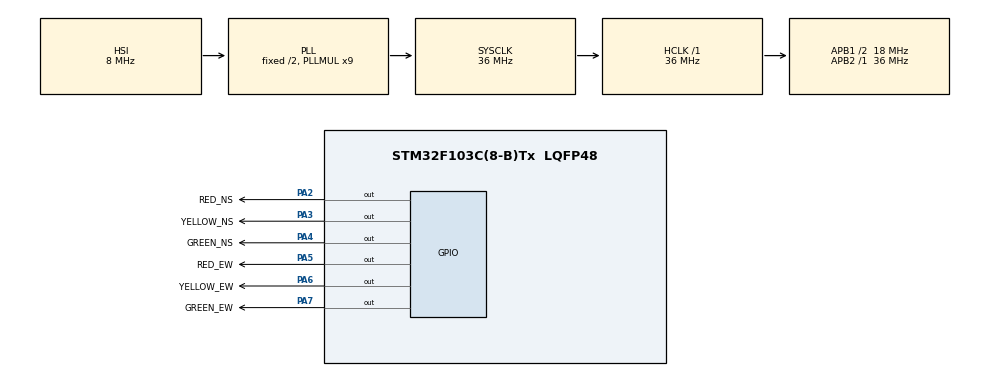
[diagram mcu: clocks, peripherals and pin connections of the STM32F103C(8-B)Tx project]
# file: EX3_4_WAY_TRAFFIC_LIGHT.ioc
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Mcu.Family=STM32F1
Mcu.Name=STM32F103C(8-B)Tx
Mcu.Package=LQFP48
NVIC.PriorityGroup=NVIC_PRIORITYGROUP_4
PA13.Mode=Serial_Wire
PA13.Signal=SYS_JTMS-SWDIO
PA14.Mode=Serial_Wire
PA14.Signal=SYS_JTCK-SWCLK
PA2.GPIO_Label=RED_NS
PA2.Signal=GPIO_Output
PA3.GPIO_Label=YELLOW_NS
PA3.Signal=GPIO_Output
PA4.GPIO_Label=GREEN_NS
PA4.Signal=GPIO_Output
PA5.GPIO_Label=RED_EW
PA5.Signal=GPIO_Output
PA6.GPIO_Label=YELLOW_EW
PA6.Signal=GPIO_Output
PA7.GPIO_Label=GREEN_EW
PA7.Signal=GPIO_Output
ProjectManager.HeapSize=0x200
ProjectManager.StackSize=0x400
ProjectManager.TargetToolchain=MDK-ARM V5.32
RCC.AHBFreq_Value=36000000
RCC.APB1CLKDivider=RCC_HCLK_DIV2
RCC.APB1Freq_Value=18000000
RCC.APB1TimFreq_Value=36000000
RCC.APB2Freq_Value=36000000
RCC.APB2TimFreq_Value=36000000
RCC.HCLKFreq_Value=36000000
RCC.PLLMUL=RCC_PLL_MUL9
RCC.SYSCLKFreq_VALUE=36000000
RCC.SYSCLKSource=RCC_SYSCLKSOURCE_PLLCLK
RCC.USBFreq_Value=36000000
board=custom

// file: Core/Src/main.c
/* USER CODE BEGIN Header */
/**
  ******************************************************************************
  * @file           : main.c
  * @brief          : Main program body
  ******************************************************************************
  * @attention
  *
  * Copyright (c) 2026 STMicroelectronics.
  * All rights reserved.
  *
  * This software is licensed under terms that can be found in the LICENSE file
  * in the root directory of this software component.
  * If no LICENSE file comes with this software, it is provided AS-IS.
  *
  ******************************************************************************
  */
/* USER CODE END Header */
#include "main.h"

void SystemClock_Config(void);
static void MX_GPIO_Init(void);

int main(void)
{

  /* MCU Configuration--------------------------------------------------------*/

  /* Reset of all peripherals, Initializes the Flash interface and the Systick. */
  HAL_Init();

  /* Configure the system clock */
  SystemClock_Config();

  /* Initialize all configured peripherals */
  MX_GPIO_Init();

  /* Infinite loop */
  while (1)
  {

    /* USER CODE BEGIN 3 */

		// NORTH_SOUTH GREEN
		HAL_GPIO_WritePin(GPIOA, GPIO_PIN_2, 0);	// RED
		HAL_GPIO_WritePin(GPIOA, GPIO_PIN_3, 0);	// YELLOW
		HAL_GPIO_WritePin(GPIOA, GPIO_PIN_4, 1);	// GREEN

		HAL_GPIO_WritePin(GPIOA, GPIO_PIN_5, 1);
		HAL_GPIO_WritePin(GPIOA, GPIO_PIN_6, 0);
		HAL_GPIO_WritePin(GPIOA, GPIO_PIN_7, 0);

		HAL_Delay(3000);

		// NORTH_SOUTH YELLOW
		HAL_GPIO_WritePin(GPIOA, GPIO_PIN_2, 0);
		HAL_GPIO_WritePin(GPIOA, GPIO_PIN_3, 1);
		HAL_GPIO_WritePin(GPIOA, GPIO_PIN_4, 0);

		HAL_GPIO_WritePin(GPIOA, GPIO_PIN_5, 1);
		HAL_GPIO_WritePin(GPIOA, GPIO_PIN_6, 0);
		HAL_GPIO_WritePin(GPIOA, GPIO_PIN_7, 0);

		HAL_Delay(2000);

		// EAST_WEST GREEN
		HAL_GPIO_WritePin(GPIOA, GPIO_PIN_2, 1);
		HAL_GPIO_WritePin(GPIOA, GPIO_PIN_3, 0);
		HAL_GPIO_WritePin(GPIOA, GPIO_PIN_4, 0);

		HAL_GPIO_WritePin(GPIOA, GPIO_PIN_5, 0);
		HAL_GPIO_WritePin(GPIOA, GPIO_PIN_6, 0);
		HAL_GPIO_WritePin(GPIOA, GPIO_PIN_7, 1);

		HAL_Delay(3000);

		// EAST_WEST YELLOW
		HAL_GPIO_WritePin(GPIOA, GPIO_PIN_2, 1);
		HAL_GPIO_WritePin(GPIOA, GPIO_PIN_3, 0);
		HAL_GPIO_WritePin(GPIOA, GPIO_PIN_4, 0);

		HAL_GPIO_WritePin(GPIOA, GPIO_PIN_5, 0);
		HAL_GPIO_WritePin(GPIOA, GPIO_PIN_6, 1);
		HAL_GPIO_WritePin(GPIOA, GPIO_PIN_7, 0);

		HAL_Delay(2000);
  }
  /* USER CODE END 3 */
}

void SystemClock_Config(void)
{
  RCC_OscInitTypeDef RCC_OscInitStruct = {0};
  RCC_ClkInitTypeDef RCC_ClkInitStruct = {0};

  /** Initializes the RCC Oscillators according to the specified parameters
  * in the RCC_OscInitTypeDef structure.
  */
  RCC_OscInitStruct.OscillatorType = RCC_OSCILLATORTYPE_HSI;
  RCC_OscInitStruct.HSIState = RCC_HSI_ON;
  RCC_OscInitStruct.HSICalibrationValue = RCC_HSICALIBRATION_DEFAULT;
  RCC_OscInitStruct.PLL.PLLState = RCC_PLL_ON;
  RCC_OscInitStruct.PLL.PLLSource = RCC_PLLSOURCE_HSI_DIV2;
  RCC_OscInitStruct.PLL.PLLMUL = RCC_PLL_MUL9;
  if (HAL_RCC_OscConfig(&RCC_OscInitStruct) != HAL_OK)
  {
    Error_Handler();
  }

  /** Initializes the CPU, AHB and APB buses clocks
  */
  RCC_ClkInitStruct.ClockType = RCC_CLOCKTYPE_HCLK|RCC_CLOCKTYPE_SYSCLK
                              |RCC_CLOCKTYPE_PCLK1|RCC_CLOCKTYPE_PCLK2;
  RCC_ClkInitStruct.SYSCLKSource = RCC_SYSCLKSOURCE_PLLCLK;
  RCC_ClkInitStruct.AHBCLKDivider = RCC_SYSCLK_DIV1;
  RCC_ClkInitStruct.APB1CLKDivider = RCC_HCLK_DIV2;
  RCC_ClkInitStruct.APB2CLKDivider = RCC_HCLK_DIV1;

  if (HAL_RCC_ClockConfig(&RCC_ClkInitStruct, FLASH_LATENCY_1) != HAL_OK)
  {
    Error_Handler();
  }
}

static void MX_GPIO_Init(void)
{
  GPIO_InitTypeDef GPIO_InitStruct = {0};

  /* GPIO Ports Clock Enable */
  __HAL_RCC_GPIOA_CLK_ENABLE();

  /*Configure GPIO pin Output Level */
  HAL_GPIO_WritePin(GPIOA, RED_NS_Pin|YELLOW_NS_Pin|GREEN_NS_Pin|RED_EW_Pin
                          |YELLOW_EW_Pin|GREEN_EW_Pin, GPIO_PIN_RESET);

  /*Configure GPIO pins : RED_NS_Pin YELLOW_NS_Pin GREEN_NS_Pin RED_EW_Pin
                           YELLOW_EW_Pin GREEN_EW_Pin */
  GPIO_InitStruct.Pin = RED_NS_Pin|YELLOW_NS_Pin|GREEN_NS_Pin|RED_EW_Pin
                          |YELLOW_EW_Pin|GREEN_EW_Pin;
  GPIO_InitStruct.Mode = GPIO_MODE_OUTPUT_PP;
  GPIO_InitStruct.Pull = GPIO_NOPULL;
  GPIO_InitStruct.Speed = GPIO_SPEED_FREQ_LOW;
  HAL_GPIO_Init(GPIOA, &GPIO_InitStruct);

}

void Error_Handler(void)
{
  __disable_irq();
  while (1)
  {
  }
}
